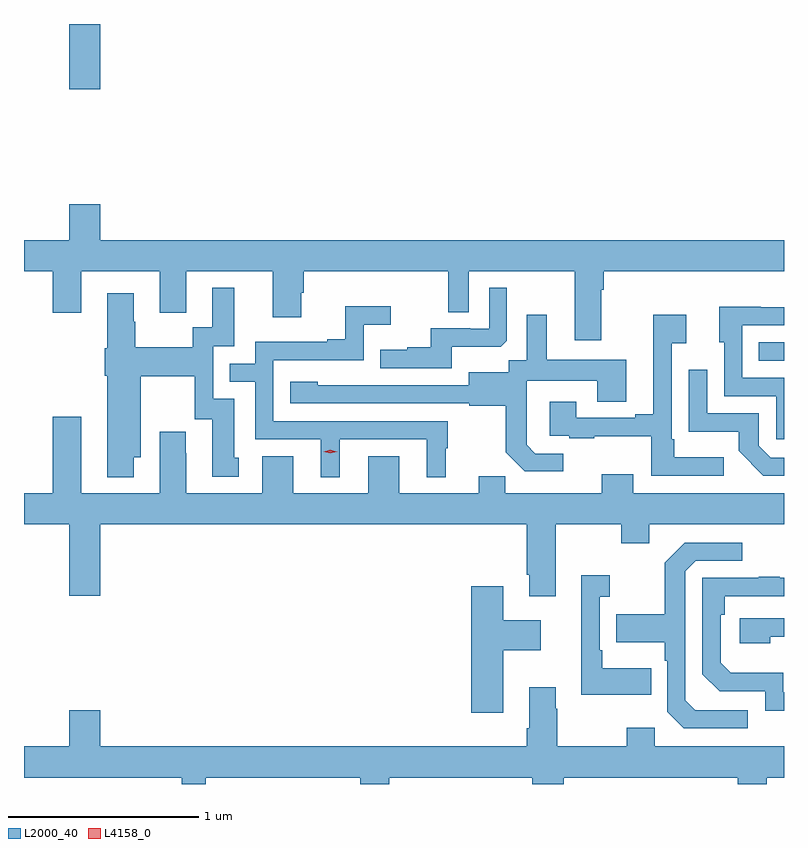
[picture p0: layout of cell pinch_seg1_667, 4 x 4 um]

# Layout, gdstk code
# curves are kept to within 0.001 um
import gdstk
lib = gdstk.Library(unit=1e-6, precision=1e-09)
def R(c, l, rs):  # rectangles x0, y0, x1, y1
    for r in rs: c.add(gdstk.rectangle(r[:2], r[2:], *l))
def P(c, l, *ps):  # polygons
    for p in ps: c.add(gdstk.Polygon(p, *l))
L2000_40 = (2000, 40)
L4158_0 = (4158, 0)

pinch_seg1_667 = lib.new_cell('pinch_seg1_667')
R(pinch_seg1_667, L2000_40, [(851.953,576.57,852.087,576.666), (848.324,577.998,848.488,578.342)])
P(pinch_seg1_667, L2000_40, [(851.125,576.944),(851.138,576.944),(851.138,577.04),(852.087,577.04),(852.087,577.204),(848.488,577.204),(848.488,577.393),(848.324,577.393),(848.324,577.204),(848.087,577.204),(848.087,577.04),(848.237,577.04),(848.237,576.822),(848.389,576.822),(848.389,577.04),(848.801,577.04),(848.801,576.822),(848.941,576.822),(848.941,577.04),(849.395,577.04),(849.395,576.798),(849.547,576.798),(849.547,576.927),(849.56,576.927),(849.56,577.04),(850.32,577.04),(850.32,576.826),(850.428,576.826),(850.428,577.04),(850.985,577.04),(850.985,576.678),(851.125,576.678)],
  [(848.665,576.062),(848.701,576.062),(848.701,576.488),(848.985,576.488),(848.985,576.263),(849.077,576.263),(849.077,575.958),(849.217,575.958),(849.217,576.06),(849.193,576.06),(849.193,576.369),(849.084,576.369),(849.084,576.645),(849.193,576.645),(849.193,576.955),(849.077,576.955),(849.077,576.746),(848.976,576.746),(848.976,576.64),(848.673,576.64),(848.673,576.774),(848.665,576.774),(848.665,576.925),(848.525,576.925),(848.525,576.636),(848.513,576.636),(848.513,576.492),(848.525,576.492),(848.525,575.957),(848.665,575.957)],
  [(850.339,576.644),(850.597,576.644),(850.629,576.675),(850.629,576.955),(850.536,576.955),(850.536,576.738),(850.436,576.738),(850.436,576.741),(850.229,576.741),(850.229,576.64),(850.105,576.64),(850.105,576.628),(849.961,576.628),(849.961,576.531),(850.339,576.531)],
  [(849.748,576.156),(850.208,576.156),(850.208,575.957),(850.306,575.957),(850.306,576.108),(850.318,576.108),(850.318,576.252),(849.399,576.252),(849.399,576.573),(849.876,576.573),(849.876,576.758),(850.018,576.758),(850.018,576.857),(849.778,576.857),(849.778,576.682),(849.683,576.682),(849.683,576.669),(849.303,576.669),(849.303,576.555),(849.169,576.555),(849.169,576.459),(849.303,576.459),(849.303,576.156),(849.65,576.156),(849.65,575.957),(849.748,575.957)],
  [(852.087,576.48),(851.868,576.48),(851.868,576.756),(852.087,576.756),(852.087,576.852),(851.965,576.852),(851.965,576.854),(851.747,576.854),(851.747,576.666),(851.772,576.666),(851.772,576.384),(852.045,576.384),(852.045,576.156),(852.087,576.156)],
  [(851.77,576.061),(851.509,576.061),(851.509,576.157),(851.496,576.157),(851.496,576.662),(851.572,576.662),(851.572,576.811),(851.399,576.811),(851.399,576.289),(851.303,576.289),(851.303,576.27),(850.993,576.27),(850.993,576.355),(850.853,576.355),(850.853,576.174),(850.957,576.174),(850.957,576.162),(851.089,576.162),(851.089,576.173),(851.388,576.173),(851.388,575.964),(851.77,575.964)],
  [(850.924,576.081),(850.779,576.081),(850.732,576.128),(850.732,576.223),(850.734,576.223),(850.734,576.464),(851.105,576.464),(851.105,576.355),(851.257,576.355),(851.257,576.574),(850.837,576.574),(850.837,576.811),(850.733,576.811),(850.733,576.572),(850.638,576.572),(850.638,576.508),(850.427,576.508),(850.427,576.441),(849.633,576.442),(849.633,576.46),(849.489,576.46),(849.489,576.345),(850.431,576.345),(850.431,576.333),(850.623,576.333),(850.623,576.087),(850.723,575.987),(850.924,575.987)],
  [(852.087,576.06),(852.018,576.06),(851.955,576.123),(851.955,576.294),(851.682,576.294),(851.682,576.523),(851.586,576.523),(851.586,576.197),(851.848,576.197),(851.848,576.095),(851.978,575.964),(852.087,575.964)],
  [(850.885,575.708),(851.23,575.708),(851.23,575.609),(851.377,575.609),(851.377,575.708),(852.087,575.708),(852.087,575.872),(851.293,575.872),(851.293,575.971),(851.129,575.971),(851.129,575.872),(850.619,575.872),(850.619,575.963),(850.481,575.963),(850.481,575.872),(850.063,575.872),(850.063,576.067),(849.899,576.067),(849.899,575.872),(849.505,575.872),(849.505,576.067),(849.341,576.067),(849.341,575.872),(848.941,575.872),(848.941,576.083),(848.939,576.083),(848.939,576.196),(848.801,576.196),(848.801,575.872),(848.389,575.872),(848.389,576.274),(848.237,576.274),(848.237,575.872),(848.087,575.872),(848.087,575.708),(848.324,575.708),(848.324,575.334),(848.488,575.334),(848.488,575.708),(850.733,575.708),(850.733,575.443),(850.745,575.443),(850.745,575.331),(850.885,575.331)],
  [(851.896,574.731),(851.619,574.731),(851.568,574.782),(851.568,575.463),(851.622,575.517),(851.866,575.517),(851.866,575.613),(851.565,575.613),(851.46,575.507),(851.46,575.235),(851.203,575.235),(851.203,575.087),(851.46,575.087),(851.46,574.991),(851.472,574.991),(851.472,574.722),(851.559,574.635),(851.896,574.635)],
  [(851.387,574.951),(851.131,574.951),(851.131,575.047),(851.118,575.047),(851.118,575.327),(851.17,575.327),(851.17,575.44),(851.021,575.44),(851.021,574.811),(851.387,574.811)],
  [(852.087,574.824),(852.084,574.824),(852.084,574.927),(851.807,574.927),(851.754,574.98),(851.754,575.234),(851.774,575.234),(851.774,575.331),(852.087,575.331),(852.087,575.427),(852.065,575.427),(852.065,575.432),(851.953,575.432),(851.953,575.427),(851.658,575.427),(851.658,574.92),(851.748,574.83),(851.988,574.83),(851.988,574.728),(852.087,574.728)],
  [(850.609,575.045),(850.807,575.045),(850.807,575.203),(850.609,575.203),(850.609,575.383),(850.442,575.383),(850.442,574.716),(850.609,574.716)],
  [(852.014,575.118),(852.087,575.118),(852.087,575.214),(851.853,575.214),(851.853,575.084),(852.014,575.084)],
  [(849.043,574.376),(849.857,574.376),(849.857,574.342),(850.01,574.342),(850.01,574.376),(850.763,574.376),(850.763,574.342),(850.928,574.342),(850.928,574.376),(851.843,574.376),(851.843,574.342),(851.995,574.342),(851.995,574.376),(852.087,574.376),(852.087,574.54),(851.406,574.54),(851.406,574.639),(851.26,574.639),(851.26,574.54),(850.893,574.54),(850.893,574.739),(850.885,574.739),(850.885,574.852),(850.745,574.852),(850.745,574.636),(850.733,574.636),(850.733,574.54),(848.488,574.54),(848.488,574.729),(848.324,574.729),(848.324,574.54),(848.087,574.54),(848.087,574.376),(848.916,574.376),(848.916,574.342),(849.043,574.342)])
P(pinch_seg1_667, L4158_0, [(849.699,576.082),(849.664,576.091),(849.663,576.092),(849.664,576.092),(849.699,576.102),(849.734,576.092),(849.735,576.092),(849.734,576.091)])

lib.write_gds('pinch_seg1_667.gds')
